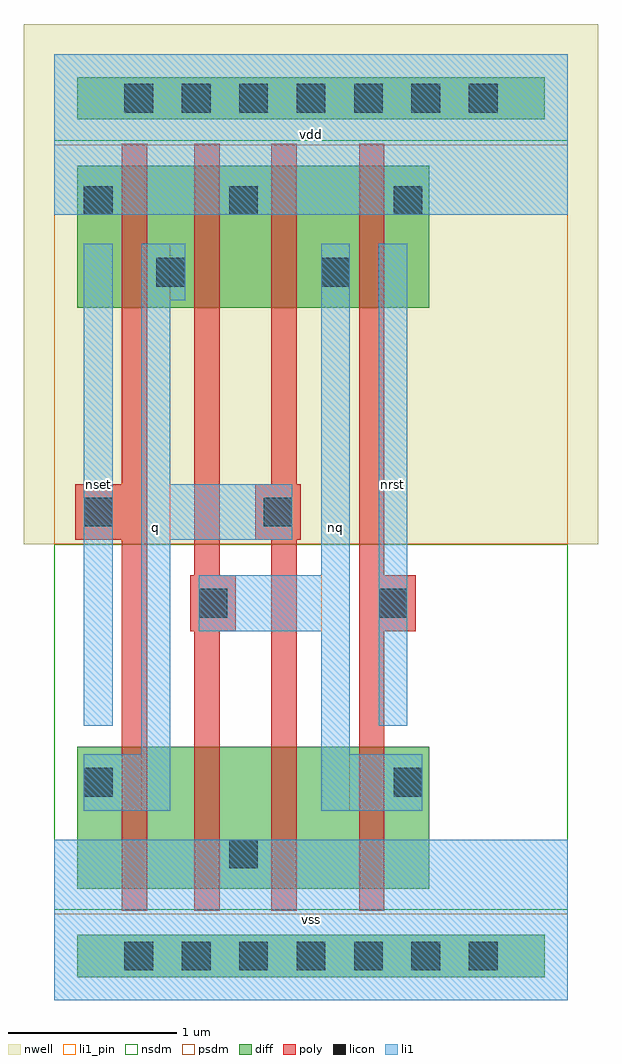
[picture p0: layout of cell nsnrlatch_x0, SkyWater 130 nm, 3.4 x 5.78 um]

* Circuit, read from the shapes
.subckt nsnrlatch_x0 nq nrst nset q vdd vss
XM1 n1 nset q VSUBS sky130_fd_pr__nfet_01v8 w=0.84 l=0.15
XM2 vss nq n1 VSUBS sky130_fd_pr__nfet_01v8 w=0.84 l=0.15
XM3 n2 q vss VSUBS sky130_fd_pr__nfet_01v8 w=0.84 l=0.15
XM4 nq nrst n2 VSUBS sky130_fd_pr__nfet_01v8 w=0.84 l=0.15
XM5 q nset vdd n3 sky130_fd_pr__pfet_01v8 w=0.84 l=0.15
XM6 vdd nq q n3 sky130_fd_pr__pfet_01v8 w=0.84 l=0.15
XM7 nq q vdd n3 sky130_fd_pr__pfet_01v8 w=0.84 l=0.15
XM8 vdd nrst nq n3 sky130_fd_pr__pfet_01v8 w=0.84 l=0.15
.ends

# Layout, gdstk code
import gdstk
lib = gdstk.Library(unit=1e-6, precision=1e-09)
def R(c, l, rs):  # rectangles x0, y0, x1, y1
    for r in rs: c.add(gdstk.rectangle(r[:2], r[2:], *l))
def A(c, l, x, y, w, h, nx, ny, dx, dy):  # array of equal rectangles
    R(c, l, [(x+i*dx, y+j*dy, x+i*dx+w, y+j*dy+h) for i in range(nx) for j in range(ny)])
def P(c, l, *ps):  # polygons
    for p in ps: c.add(gdstk.Polygon(p, *l))
nwell = (64, 20)
diff = (65, 20)
poly = (66, 20)
licon = (66, 44)
li1_pin = (67, 16)
li1 = (67, 20)
nsdm = (93, 44)
psdm = (94, 20)

nsnrlatch_x0 = lib.new_cell('nsnrlatch_x0')
R(nsnrlatch_x0, nwell, [(-0.18,2.7,3.22,5.78)])
R(nsnrlatch_x0, diff, [(0.135,0.135,2.905,0.385), (0.135,0.66,2.22,1.5), (0.135,4.1,2.22,4.94), (0.135,5.215,2.905,5.465)])
R(nsnrlatch_x0, poly, [(0.905,2.185,0.94,2.515), (1.88,2.185,2.005,2.515)])
P(nsnrlatch_x0, poly, [(1.285,0.53),(1.285,2.725),(1.19,2.725),(1.19,3.055),(1.285,3.055),(1.285,5.07),(1.435,5.07),(1.435,3.055),(1.46,3.055),(1.46,2.725),(1.435,2.725),(1.435,0.53)],
  [(0.4,0.53),(0.4,2.725),(0.125,2.725),(0.125,3.055),(0.4,3.055),(0.4,5.07),(0.55,5.07),(0.55,0.53)],
  [(0.83,0.53),(0.83,2.185),(0.805,2.185),(0.805,2.515),(0.83,2.515),(0.83,5.07),(0.98,5.07),(0.98,2.515),(1.075,2.515),(1.075,2.185),(0.98,2.185),(0.98,0.53)],
  [(1.805,0.53),(1.805,5.07),(1.955,5.07),(1.955,2.515),(2.14,2.515),(2.14,2.185),(1.955,2.185),(1.955,0.53)])
A(nsnrlatch_x0, licon, 0.415, 0.175, 0.17, 0.17, 7, 2, 0.34, 5.08)
R(nsnrlatch_x0, licon, [(1.035,0.78,1.205,0.95), (0.175,1.205,0.345,1.375), (2.01,1.205,2.18,1.375), (0.855,2.265,1.025,2.435), (1.92,2.265,2.09,2.435), (0.175,2.805,0.345,2.975), (1.24,2.805,1.41,2.975), (0.605,4.225,0.775,4.395), (1.58,4.225,1.75,4.395), (0.175,4.65,0.345,4.82), (1.035,4.65,1.205,4.82), (2.01,4.65,2.18,4.82)])
R(nsnrlatch_x0, li1_pin, [(0,0,3.04,0.95), (0.515,1.12,0.685,4.48), (1.58,1.12,1.75,4.48), (0.175,1.625,0.345,4.48), (1.92,1.625,2.09,4.48), (0,4.65,3.04,5.6)])
R(nsnrlatch_x0, li1, [(0,0,3.04,0.95), (0.175,1.625,0.345,4.48), (1.92,1.625,2.09,4.48), (0,4.65,3.04,5.6)])
P(nsnrlatch_x0, li1, [(0.175,1.12),(0.175,1.455),(0.515,1.455),(0.515,4.48),(0.775,4.48),(0.775,4.145),(0.685,4.145),(0.685,3.055),(1.41,3.055),(1.41,2.725),(0.685,2.725),(0.685,1.12)],
  [(1.58,1.12),(1.58,2.185),(0.855,2.185),(0.855,2.515),(1.58,2.515),(1.58,4.48),(1.75,4.48),(1.75,1.455),(2.18,1.455),(2.18,1.12)])
R(nsnrlatch_x0, nsdm, [(0,0.535,3.04,2.7), (0,5.09,3.04,5.6)])
R(nsnrlatch_x0, psdm, [(0,0,3.04,0.51), (0,2.7,3.04,5.065)])
nsnrlatch_x0.add(gdstk.Label('q', (0.6,2.8), layer=67, texttype=16))
nsnrlatch_x0.add(gdstk.Label('vdd', (1.52,5.125), layer=67, texttype=16))
nsnrlatch_x0.add(gdstk.Label('vss', (1.52,0.475), layer=67, texttype=16))
nsnrlatch_x0.add(gdstk.Label('nset', (0.26,3.052), layer=67, texttype=16))
nsnrlatch_x0.add(gdstk.Label('nq', (1.665,2.8), layer=67, texttype=16))
nsnrlatch_x0.add(gdstk.Label('nrst', (2.005,3.052), layer=67, texttype=16))

lib.write_gds('nsnrlatch_x0.gds')
